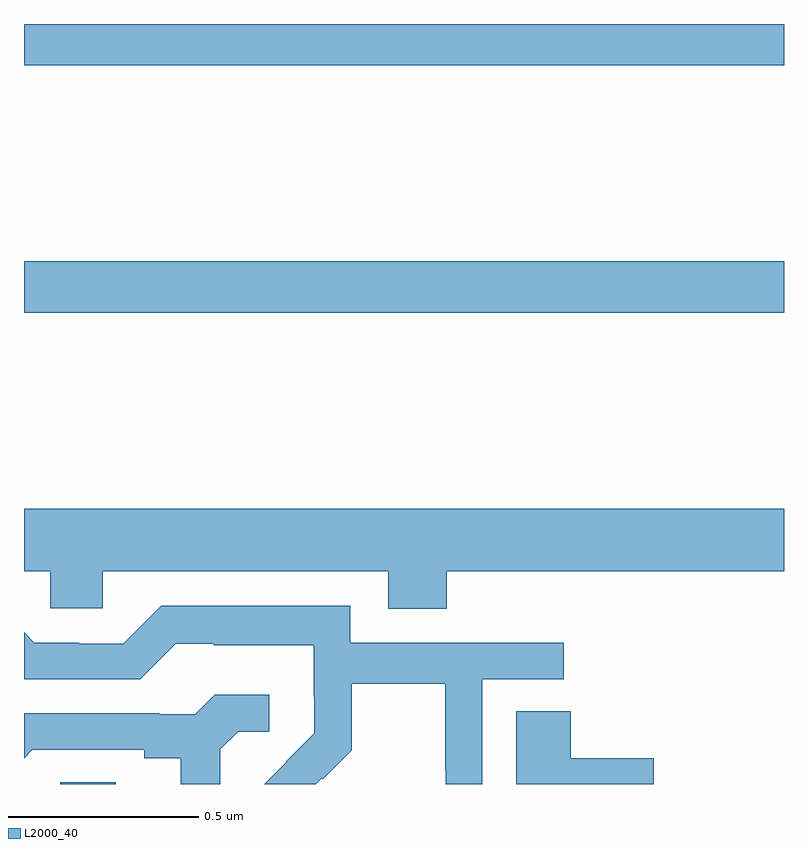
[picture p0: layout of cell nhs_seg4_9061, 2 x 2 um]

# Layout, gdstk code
import gdstk
lib = gdstk.Library(unit=1e-6, precision=1e-09)
def R(c, l, rs):  # rectangles x0, y0, x1, y1
    for r in rs: c.add(gdstk.rectangle(r[:2], r[2:], *l))
def P(c, l, *ps):  # polygons
    for p in ps: c.add(gdstk.Polygon(p, *l))
L2000_40 = (2000, 40)

nhs_seg4_9061 = lib.new_cell('nhs_seg4_9061')
R(nhs_seg4_9061, L2000_40, [(222.096,822.9,222.241,822.905), (222,824.14,224,824.276), (222,824.792,224,824.9)])
P(nhs_seg4_9061, L2000_40, [(223.112,823.46),(224,823.46),(224,823.624),(222,823.624),(222,823.46),(222.069,823.46),(222.069,823.362),(222.207,823.362),(222.207,823.46),(222.959,823.46),(222.959,823.361),(223.112,823.361)],
  [(222.783,822.915),(222.786,822.912),(222.863,822.989),(222.863,823.164),(223.108,823.164),(223.108,822.94),(223.11,822.94),(223.11,822.9),(223.206,822.9),(223.206,823.176),(223.42,823.176),(223.42,823.272),(222.858,823.272),(222.858,823.369),(222.361,823.369),(222.261,823.269),(222.146,823.269),(222.146,823.272),(222.027,823.272),(222,823.299),(222,823.176),(222.306,823.176),(222.399,823.269),(222.499,823.269),(222.499,823.265),(222.762,823.265),(222.762,823.131),(222.764,823.131),(222.764,823.034),(222.69,822.96),(222.691,822.959),(222.632,822.9),(222.768,822.9)],
  [(222.517,822.991),(222.564,823.038),(222.646,823.038),(222.646,823.135),(222.502,823.135),(222.45,823.083),(222.356,823.083),(222.356,823.086),(222,823.086),(222,822.968),(222.022,822.99),(222.317,822.99),(222.317,822.968),(222.413,822.968),(222.413,822.9),(222.517,822.9)],
  [(223.657,822.968),(223.439,822.968),(223.439,823.091),(223.295,823.091),(223.295,822.9),(223.657,822.9)])

lib.write_gds('nhs_seg4_9061.gds')
